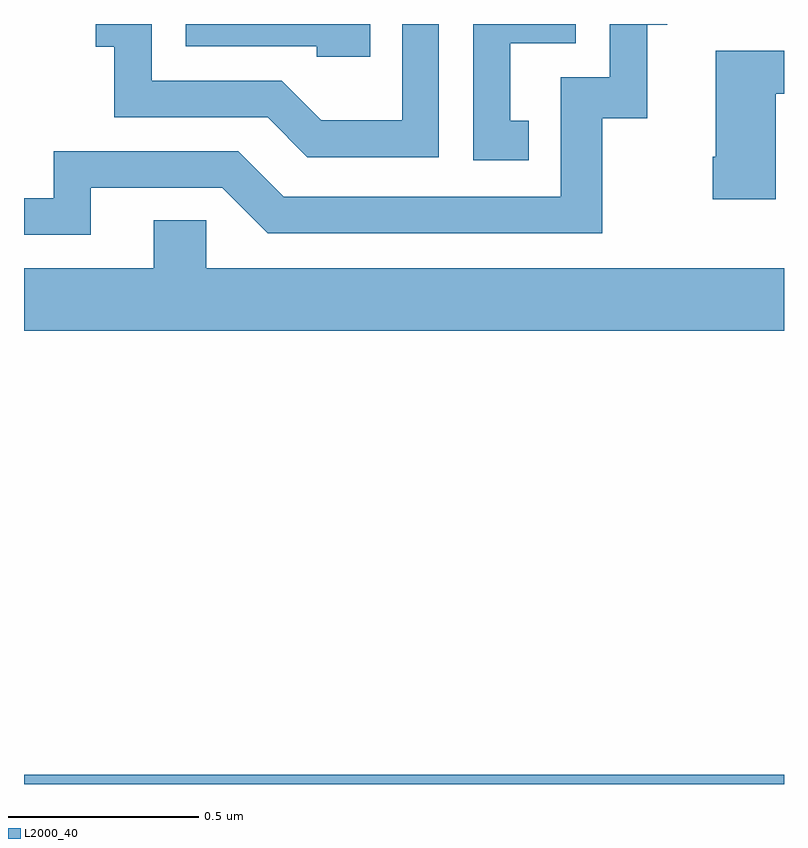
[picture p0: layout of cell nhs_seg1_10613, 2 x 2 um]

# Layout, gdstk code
import gdstk
lib = gdstk.Library(unit=1e-6, precision=1e-09)
def R(c, l, rs):  # rectangles x0, y0, x1, y1
    for r in rs: c.add(gdstk.rectangle(r[:2], r[2:], *l))
def P(c, l, *ps):  # polygons
    for p in ps: c.add(gdstk.Polygon(p, *l))
L2000_40 = (2000, 40)

nhs_seg1_10613 = lib.new_cell('nhs_seg1_10613')
R(nhs_seg1_10613, L2000_40, [(243,557.199,245,557.224)])
P(nhs_seg1_10613, L2000_40, [(244.328,558.945),(244.279,558.945),(244.279,559.149),(244.452,559.149),(244.452,559.199),(244.182,559.199),(244.182,558.84),(244.328,558.84)],
  [(244.092,559.199),(243.996,559.199),(243.996,558.946),(243.782,558.946),(243.678,559.05),(243.336,559.05),(243.336,559.199),(243.189,559.199),(243.189,559.139),(243.238,559.139),(243.238,558.954),(243.641,558.954),(243.746,558.849),(244.092,558.849)],
  [(243.175,558.768),(243.522,558.768),(243.642,558.648),(244.522,558.648),(244.522,558.951),(244.64,558.951),(244.64,559.197),(244.693,559.197),(244.693,559.199),(244.542,559.199),(244.542,559.059),(244.413,559.059),(244.413,558.744),(243.684,558.744),(243.564,558.864),(243.078,558.864),(243.078,558.741),(243,558.741),(243,558.645),(243.175,558.645)],
  [(243.911,559.199),(243.426,559.199),(243.426,559.14),(243.771,559.14),(243.771,559.113),(243.911,559.113)],
  [(244.978,559.015),(245,559.015),(245,559.129),(244.82,559.129),(244.82,558.85),(244.813,558.85),(244.813,558.738),(244.978,558.738)],
  [(245,558.556),(243.48,558.556),(243.48,558.683),(243.341,558.683),(243.341,558.556),(243,558.556),(243,558.392),(245,558.392)])

lib.write_gds('nhs_seg1_10613.gds')
